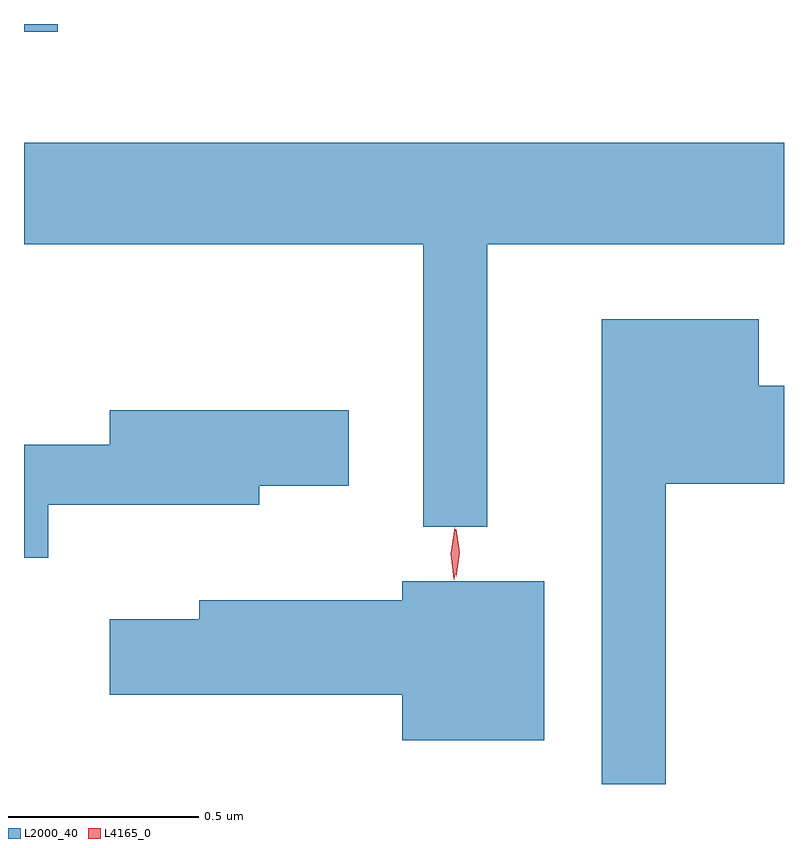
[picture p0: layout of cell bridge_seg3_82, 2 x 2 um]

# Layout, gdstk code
import gdstk
lib = gdstk.Library(unit=1e-6, precision=1e-09)
def R(c, l, rs):  # rectangles x0, y0, x1, y1
    for r in rs: c.add(gdstk.rectangle(r[:2], r[2:], *l))
def P(c, l, *ps):  # polygons
    for p in ps: c.add(gdstk.Polygon(p, *l))
L2000_40 = (2000, 40)
L4165_0 = (4165, 0)

bridge_seg3_82 = lib.new_cell('bridge_seg3_82')
R(bridge_seg3_82, L2000_40, [(1146.7,1164.316,1146.789,1164.336)])
P(bridge_seg3_82, L2000_40, [(1147.919,1163.756),(1148.7,1163.756),(1148.7,1164.024),(1146.7,1164.024),(1146.7,1163.756),(1147.751,1163.756),(1147.751,1163.013),(1147.919,1163.013)],
  [(1148.389,1163.126),(1148.7,1163.126),(1148.7,1163.384),(1148.634,1163.384),(1148.634,1163.559),(1148.221,1163.559),(1148.221,1162.336),(1148.389,1162.336)],
  [(1146.764,1163.071),(1147.319,1163.071),(1147.319,1163.121),(1147.554,1163.121),(1147.554,1163.319),(1146.926,1163.319),(1146.926,1163.229),(1146.7,1163.229),(1146.7,1162.931),(1146.764,1162.931)],
  [(1148.069,1162.869),(1147.696,1162.869),(1147.696,1162.819),(1147.161,1162.819),(1147.161,1162.769),(1146.926,1162.769),(1146.926,1162.571),(1147.696,1162.571),(1147.696,1162.451),(1148.069,1162.451)])
P(bridge_seg3_82, L4165_0, [(1147.832,1162.874),(1147.831,1162.875),(1147.823,1162.942),(1147.833,1163.01),(1147.834,1163.01),(1147.834,1163.01),(1147.843,1162.942),(1147.832,1162.875)],
  [(1147.838,1162.881),(1147.838,1162.881),(1147.827,1162.944),(1147.836,1163.006),(1147.836,1163.007),(1147.837,1163.006),(1147.847,1162.944),(1147.838,1162.881)])

lib.write_gds('bridge_seg3_82.gds')
